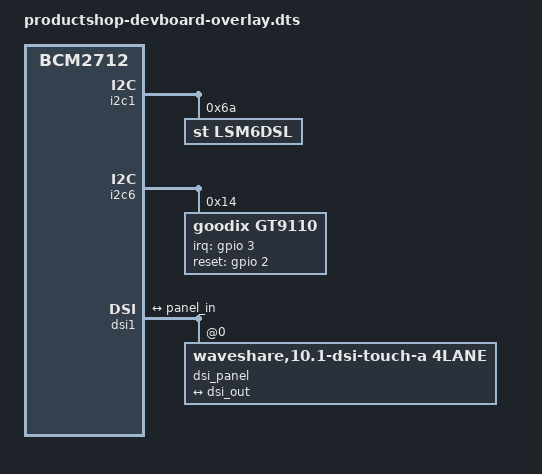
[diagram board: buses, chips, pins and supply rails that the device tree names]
/dts-v1/;
/plugin/;

/ {
	compatible = "brcm,bcm2712";

	/*
	 * ------------------------------------------------------------------
	 *  fragment@0: Configure i2c1 on pins 10/11
	 * ------------------------------------------------------------------
	 */
	fragment@0 {
		target = <&i2c1>;
		__overlay__ {
			pinctrl-0 = <&rp1_i2c1_10_11>;
			status = "okay";
		};
	};

	/*
	 * ------------------------------------------------------------------
	 *  fragment@1: GPIO pins for Goodix touchscreen
	 * ------------------------------------------------------------------
	 */
	fragment@1 {
		target = <&gpio>;
		__overlay__ {
			goodix_pins: goodix_pins {
				brcm,pins = <3 2>;       // interrupt, reset
				brcm,function = <0 0>;   // input
				brcm,pull = <2 2>;       // pull-up
			};
		};
	};

	/*
	 * ------------------------------------------------------------------
	 *  fragment@2: Goodix touchscreen on i2c6
	 * ------------------------------------------------------------------
	 */
	i2c_frag: fragment@2 {
		target = <&i2c6>;
		__overlay__ {
			#address-cells = <1>;
			#size-cells = <0>;
			status = "okay";

			gt9110: gt9110@14 {
				compatible = "goodix,gt9110";
				reg = <0x14>;
				pinctrl-names = "default";
				pinctrl-0 = <&goodix_pins>;
				interrupt-parent = <&gpio>;
				interrupts = <3 1>;   // low to high edge triggered
				irq-gpios = <&gpio 3 0>;
				reset-gpios = <&gpio 2 0>;
				touchscreen-size-x = <1280>;
  			touchscreen-size-y = <800>;
				touchscreen-swapped-x-y;
				touchscreen-inverted-y;
			};
		};
	};

	/*
	 * ------------------------------------------------------------------
	 *  fragment@3: DSI panel at dsi1
	 * ------------------------------------------------------------------
	 */
	dsi_frag: fragment@3 {
		target = <&dsi1>;
		__overlay__ {
			#address-cells = <1>;
			#size-cells = <0>;
			status = "okay";

			port {
				dsi_out: endpoint {
					remote-endpoint = <&panel_in>;
				};
			};

			dsi_panel: dsi_panel@0 {
				reg = <0>;
				compatible = "waveshare,10.1-dsi-touch-a,4lane";

				port {
					panel_in: endpoint {
						remote-endpoint = <&dsi_out>;
					};
				};
			};
		};
	};

	/*
	 * ------------------------------------------------------------------
	 *  fragment@4: LSM6DSL IMU on i2c1 at 0x6A
	 * ------------------------------------------------------------------
	 */
	fragment@4 {
		target = <&i2c1>;
		__overlay__ {
			#address-cells = <1>;
			#size-cells = <0>;
			status = "okay";

			lsm6dsl: lsm6dsl@6a {
				compatible = "st,lsm6dsl";
				reg = <0x6a>;
				status = "okay";
				/*
				 * If you DO add an interrupt line in future:
				 *
				 * interrupt-parent = <&gpio>;
				 * interrupts = <4 1>; // example only
				 */
			};
		};
	};

	/*
	 * ------------------------------------------------------------------
	 *  __overrides__: 
	 * ------------------------------------------------------------------
	 */
	__overrides__ {
		/* Touchscreen & LSM6DSL address override */
		addr = <&gt9110>,"reg:0",
		       <&lsm6dsl>,"reg:0";

		/* Touchscreen interrupt override */
		interrupt = <&goodix_pins>,"brcm,pins:0",
		            <&gt9110>,"interrupts:0",
		            <&gt9110>,"irq-gpios:3";

		/* Touchscreen reset override */
		reset = <&goodix_pins>,"brcm,pins:2",
			<&gt9110>,"reset-gpios:2";

		/* i2c path for Goodix */
		i2c-path = <&i2c_frag>, "target?=0",
			   <&i2c_frag>, "target-path";

		/* DSI panel compatibility string overrides */
		4_0_inch_a         = <&dsi_panel>, "compatible=waveshare,4.0-dsi-touch-a";
		5_0_inch_a         = <&dsi_panel>, "compatible=waveshare,5.0-dsi-touch-a";
		5_5_inch_a         = <&dsi_panel>, "compatible=waveshare,5.5-dsi-touch-a";
		7_0_inch_a         = <&dsi_panel>, "compatible=waveshare,7.0-dsi-touch-a";
		7_0_inch_b         = <&dsi_panel>, "compatible=waveshare,7.0-dsi-touch-b";
		7_0_inch_c         = <&dsi_panel>, "compatible=waveshare,7.0-dsi-touch-c";
		8_0_inch_a         = <&dsi_panel>, "compatible=waveshare,8.0-dsi-touch-a";
		8_0_inch_a_4lane   = <&dsi_panel>, "compatible=waveshare,8.0-dsi-touch-a,4lane";
		8_1_inch_a         = <&dsi_panel>, "compatible=waveshare,8.1-dsi-touch-a";
		10_1_inch_a        = <&dsi_panel>, "compatible=waveshare,10.1-dsi-touch-a";
		10_1_inch_a_4lane  = <&dsi_panel>, "compatible=waveshare,10.1-dsi-touch-a,4lane";
		10_1_inch_b        = <&dsi_panel>, "compatible=waveshare,10.1-dsi-touch-b";
		10_1_inch_b_4lane  = <&dsi_panel>, "compatible=waveshare,10.1-dsi-touch-b,4lane";

		/* Optional named parameter to enable LSM6DSL if needed */
		lsm6dsl = <0>,"+0";
	};
};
